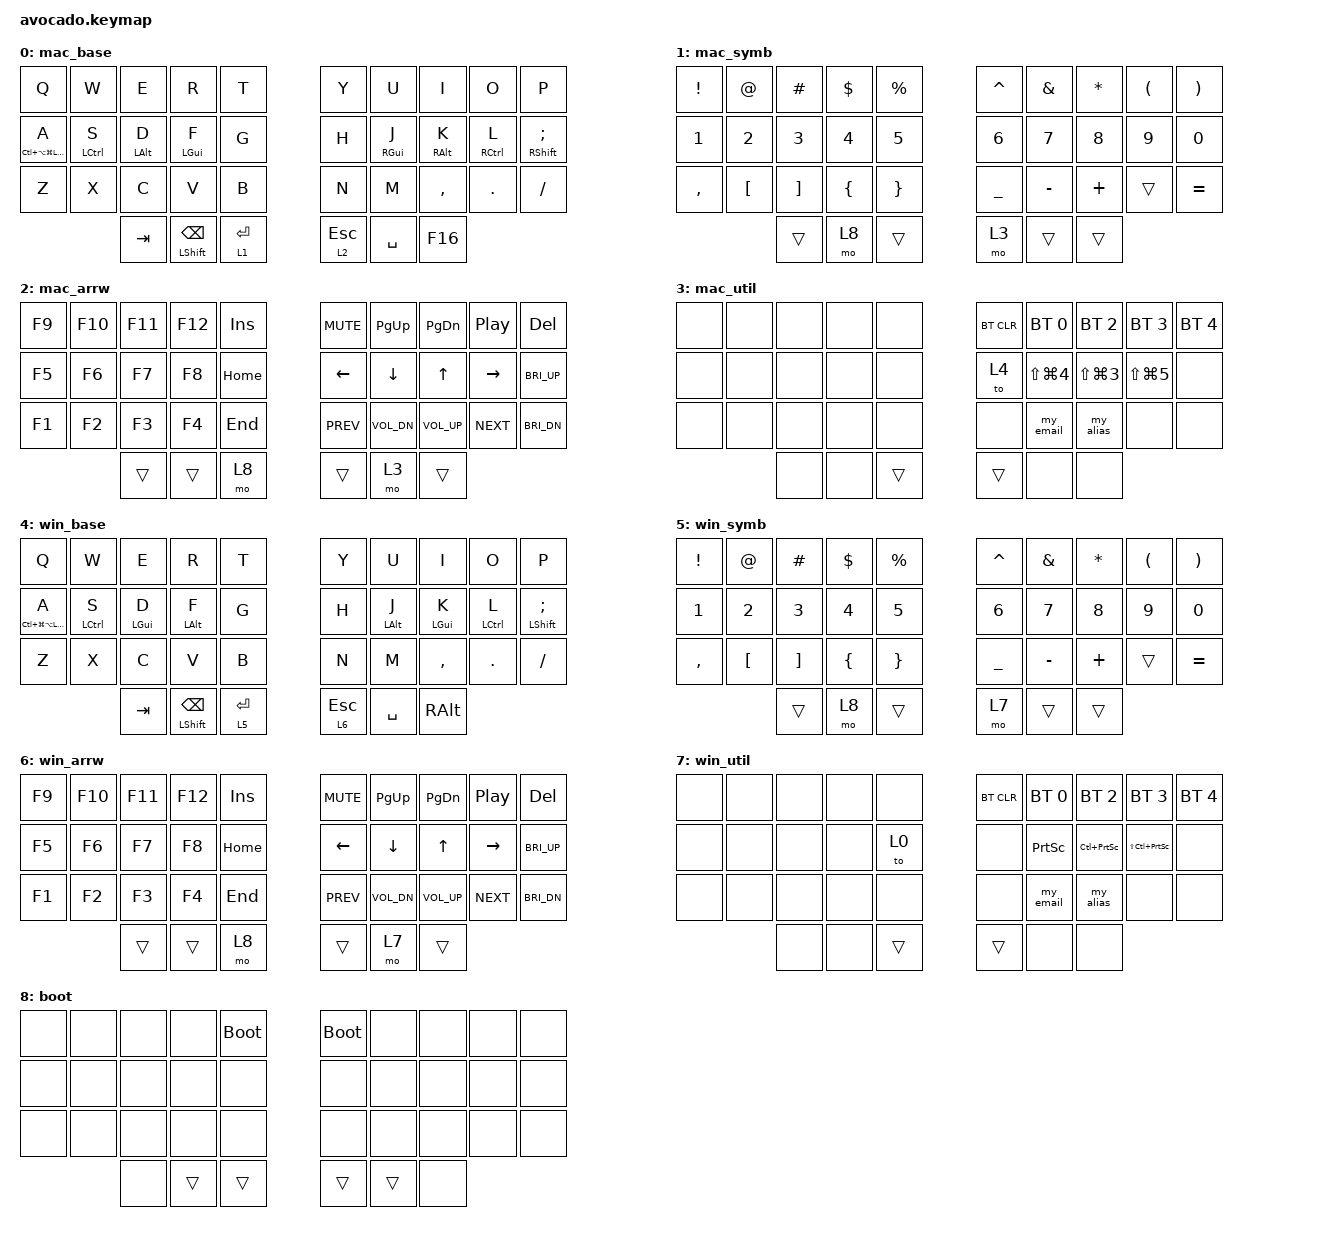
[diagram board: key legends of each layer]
#include <behaviors.dtsi>
#include <dt-bindings/zmk/bt.h>
#include <dt-bindings/zmk/keys.h>

&lt {
    tapping-term-ms = <180>;
    quick-tap-ms = <170>;
    flavor = "hold-preferred";
};

&mt {
    tapping-term-ms = <180>;
    quick-tap-ms = <170>;
};

//  0  1  2  3  4          5  6  7  8  9
// 10 11 12 13 14         15 16 17 18 19
// 20 21 22 23 24         25 26 27 28 29
//          30 31 32   33 34 35

/ {
    combos {
        compatible = "zmk,combos";

        mac_cut {
            bindings = <&kp LG(X)>;
            key-positions = <21 23>;
            timeout-ms = <20>;
            require-prior-idle-ms = <150>;
            layers = <0 4>;
        };

        mac_copy {
            bindings = <&kp LG(C)>;
            key-positions = <21 22>;
            timeout-ms = <20>;
            require-prior-idle-ms = <150>;
            layers = <0 4>;
        };

        mac_paste {
            bindings = <&kp LG(V)>;
            key-positions = <22 23>;
            timeout-ms = <20>;
            require-prior-idle-ms = <150>;
            layers = <0 4>;
        };

        mac_undo {
            bindings = <&kp LG(Z)>;
            key-positions = <20 21>;
            timeout-ms = <20>;
            require-prior-idle-ms = <150>;
            layers = <0 4>;
        };

        win_cut {
            bindings = <&kp LG(X)>;
            key-positions = <21 23>;
            timeout-ms = <20>;
            require-prior-idle-ms = <150>;
            layers = <0 4>;
        };

        win_copy {
            bindings = <&kp LG(C)>;
            key-positions = <21 22>;
            timeout-ms = <20>;
            require-prior-idle-ms = <150>;
            layers = <0 4>;
        };

        win_paste {
            bindings = <&kp LG(V)>;
            key-positions = <21 23>;
            timeout-ms = <20>;
            require-prior-idle-ms = <150>;
            layers = <0 4>;
        };

        win_undo {
            bindings = <&kp LG(Z)>;
            key-positions = <20 21>;
            timeout-ms = <20>;
            require-prior-idle-ms = <150>;
            layers = <0 4>;
        };

        sqt {
            bindings = <&kp SQT>;
            key-positions = <16 17>;
            timeout-ms = <20>;
            require-prior-idle-ms = <150>;
            layers = <0 4>;
        };

        dash {
            bindings = <&kp MINUS>;
            key-positions = <17 18>;
            timeout-ms = <20>;
            require-prior-idle-ms = <150>;
            layers = <0 4>;
        };

        grave {
            bindings = <&kp GRAVE>;
            key-positions = <26 27>;
            timeout-ms = <20>;
            require-prior-idle-ms = <150>;
            layers = <0 4>;
        };

        tilde {
            bindings = <&kp TILDE>;
            key-positions = <27 28>;
            timeout-ms = <20>;
            require-prior-idle-ms = <150>;
            layers = <0 4>;
        };

        lt {
            bindings = <&kp LT>;
            key-positions = <26 27>;
            timeout-ms = <20>;
            require-prior-idle-ms = <150>;
            layers = <1 5>;
        };

        gt {
            bindings = <&kp GT>;
            key-positions = <27 28>;
            timeout-ms = <20>;
            require-prior-idle-ms = <150>;
            layers = <1 5>;
        };

        youtube_speed_down {
            bindings = <&youtube_speed_down>;
            key-positions = <11 12>;
            timeout-ms = <20>;
            require-prior-idle-ms = <150>;
            layers = <0 4>;
        };

        youtube_speed_up {
            bindings = <&youtube_speed_up>;
            key-positions = <12 13>;
            timeout-ms = <20>;
            require-prior-idle-ms = <150>;
            layers = <0 4>;
        };
    };

    macros {
        my_email: my_email {
            compatible = "zmk,behavior-macro";
            #binding-cells = <0>;
            bindings = <&kp B &kp L &kp A &kp C &kp K &kp E &kp A &kp G &kp L &kp E &kp N1 &kp N0 &kp AT &kp I &kp C &kp L &kp O &kp U &kp D &kp DOT &kp C &kp O &kp M>;
        };

        my_alias: my_alias {
            compatible = "zmk,behavior-macro";
            #binding-cells = <0>;
            bindings = <&kp LS(U) &kp N &kp LS(E) &kp M &kp O &kp T &kp I &kp O &kp N &kp E &kp LS(D)>;
        };

        youtube_speed_down: youtube_speed_down {
            compatible = "zmk,behavior-macro";
            #binding-cells = <0>;
            bindings = <&kp I &kp LT &kp LT &kp LT &kp LT &kp ESC>;
        };

        youtube_speed_up: youtube_speed_up {
            compatible = "zmk,behavior-macro";
            #binding-cells = <0>;
            bindings = <&kp I &kp GT &kp GT &kp GT &kp GT &kp ESC>;
        };
    };

    behaviors {
        hrm_l: hrm_l {
            compatible = "zmk,behavior-hold-tap";
            bindings = <&kp>, <&kp>;

            #binding-cells = <2>;
            tapping-term-ms = <180>;
            quick-tap-ms = <170>;
            flavor = "tap-preferred";
            hold-trigger-key-positions = <5 6 7 8 9 10 11 12 13 15 16 17 18 19 25 26 27 28 29 33 34 35>;
        };

        hrm_r: hrm_r {
            compatible = "zmk,behavior-hold-tap";
            bindings = <&kp>, <&kp>;

            #binding-cells = <2>;
            tapping-term-ms = <180>;
            quick-tap-ms = <170>;
            flavor = "tap-preferred";
            hold-trigger-key-positions = <0 1 2 3 4 10 11 12 13 14 16 17 18 19 20 21 22 23 24 30 31 32>;
        };
    };

    keymap {
        compatible = "zmk,keymap";

        mac_base {
            bindings = <
&kp Q                       &kp W           &kp E          &kp R          &kp T                                     &kp Y      &kp U          &kp I          &kp O           &kp P
&hrm_l LC(LA(LG(LSHFT))) A  &hrm_l LCTRL S  &hrm_l LALT D  &hrm_l LGUI F  &kp G                                     &kp H      &hrm_r RGUI J  &hrm_r RALT K  &hrm_r RCTRL L  &hrm_r RSHFT SEMI
&kp Z                       &kp X           &kp C          &kp V          &kp B                                     &kp N      &kp M          &kp COMMA      &kp DOT         &kp FSLH
                                                           &kp TAB        &mt LSHFT BSPC  &lt 1 ENTER    &lt 2 ESC  &kp SPACE  &kp F16
            >;
        };

        mac_symb {
            bindings = <
&kp EXCL   &kp AT    &kp HASH  &kp DLLR  &kp PRCNT                   &kp CARET  &kp AMPS   &kp ASTRK  &kp LPAR  &kp RPAR
&kp N1     &kp N2    &kp N3    &kp N4    &kp N5                      &kp N6     &kp N7     &kp N8     &kp N9    &kp N0
&kp COMMA  &kp LBKT  &kp RBKT  &kp LBRC  &kp RBRC                    &kp UNDER  &kp MINUS  &kp PLUS   &trans    &kp EQUAL
                               &trans    &mo 8      &trans    &mo 3  &trans     &trans
            >;
        };

        mac_arrw {
            bindings = <
&kp F9  &kp F10  &kp F11  &kp F12  &kp INS                    &kp C_MUTE  &kp PG_UP     &kp PG_DN     &kp C_PP    &kp DEL
&kp F5  &kp F6   &kp F7   &kp F8   &kp HOME                   &kp LEFT    &kp DOWN      &kp UP        &kp RIGHT   &kp C_BRI_UP
&kp F1  &kp F2   &kp F3   &kp F4   &kp END                    &kp C_PREV  &kp C_VOL_DN  &kp C_VOL_UP  &kp C_NEXT  &kp C_BRI_DN
                          &trans   &trans    &mo 8    &trans  &mo 3       &trans
            >;
        };

        mac_util {
            bindings = <
&none  &none  &none  &none  &none                    &bt BT_CLR  &bt BT_SEL 0    &bt BT_SEL 2    &bt BT_SEL 3    &bt BT_SEL 4
&none  &none  &none  &none  &none                    &to 4       &kp LS(LG(N4))  &kp LS(LG(N3))  &kp LS(LG(N5))  &none
&none  &none  &none  &none  &none                    &none       &my_email       &my_alias       &none           &none
                     &none  &none  &trans    &trans  &none       &none
            >;
        };

        win_base {
            bindings = <
&kp Q                       &kp W           &kp E          &kp R          &kp T                                     &kp Y      &kp U          &kp I          &kp O           &kp P
&hrm_l LC(LG(LA(LSHFT))) A  &hrm_l LCTRL S  &hrm_l LGUI D  &hrm_l LALT F  &kp G                                     &kp H      &hrm_r LALT J  &hrm_r LGUI K  &hrm_r LCTRL L  &hrm_r LSHFT SEMI
&kp Z                       &kp X           &kp C          &kp V          &kp B                                     &kp N      &kp M          &kp COMMA      &kp DOT         &kp FSLH
                                                           &kp TAB        &mt LSHFT BSPC  &lt 5 ENTER    &lt 6 ESC  &kp SPACE  &kp RALT
            >;
        };

        win_symb {
            bindings = <
&kp EXCL   &kp AT    &kp HASH  &kp DLLR  &kp PRCNT                   &kp CARET  &kp AMPS   &kp ASTRK  &kp LPAR  &kp RPAR
&kp N1     &kp N2    &kp N3    &kp N4    &kp N5                      &kp N6     &kp N7     &kp N8     &kp N9    &kp N0
&kp COMMA  &kp LBKT  &kp RBKT  &kp LBRC  &kp RBRC                    &kp UNDER  &kp MINUS  &kp PLUS   &trans    &kp EQUAL
                               &trans    &mo 8      &trans    &mo 7  &trans     &trans
            >;
        };

        win_arrw {
            bindings = <
&kp F9  &kp F10  &kp F11  &kp F12  &kp INS                    &kp C_MUTE  &kp PG_UP     &kp PG_DN     &kp C_PP    &kp DEL
&kp F5  &kp F6   &kp F7   &kp F8   &kp HOME                   &kp LEFT    &kp DOWN      &kp UP        &kp RIGHT   &kp C_BRI_UP
&kp F1  &kp F2   &kp F3   &kp F4   &kp END                    &kp C_PREV  &kp C_VOL_DN  &kp C_VOL_UP  &kp C_NEXT  &kp C_BRI_DN
                          &trans   &trans    &mo 8    &trans  &mo 7       &trans
            >;
        };

        win_util {
            bindings = <
&none  &none  &none  &none  &none                    &bt BT_CLR  &bt BT_SEL 0     &bt BT_SEL 2         &bt BT_SEL 3             &bt BT_SEL 4
&none  &none  &none  &none  &to 0                    &none       &kp PRINTSCREEN  &kp LC(PRINTSCREEN)  &kp LS(LC(PRINTSCREEN))  &none
&none  &none  &none  &none  &none                    &none       &my_email        &my_alias            &none                    &none
                     &none  &none  &trans    &trans  &none       &none
            >;
        };

        boot {
            bindings = <
&none  &none  &none  &none  &bootloader                    &bootloader  &none  &none  &none  &none
&none  &none  &none  &none  &none                          &none        &none  &none  &none  &none
&none  &none  &none  &none  &none                          &none        &none  &none  &none  &none
                     &none  &trans       &trans    &trans  &trans       &none
            >;
        };
    };
};
